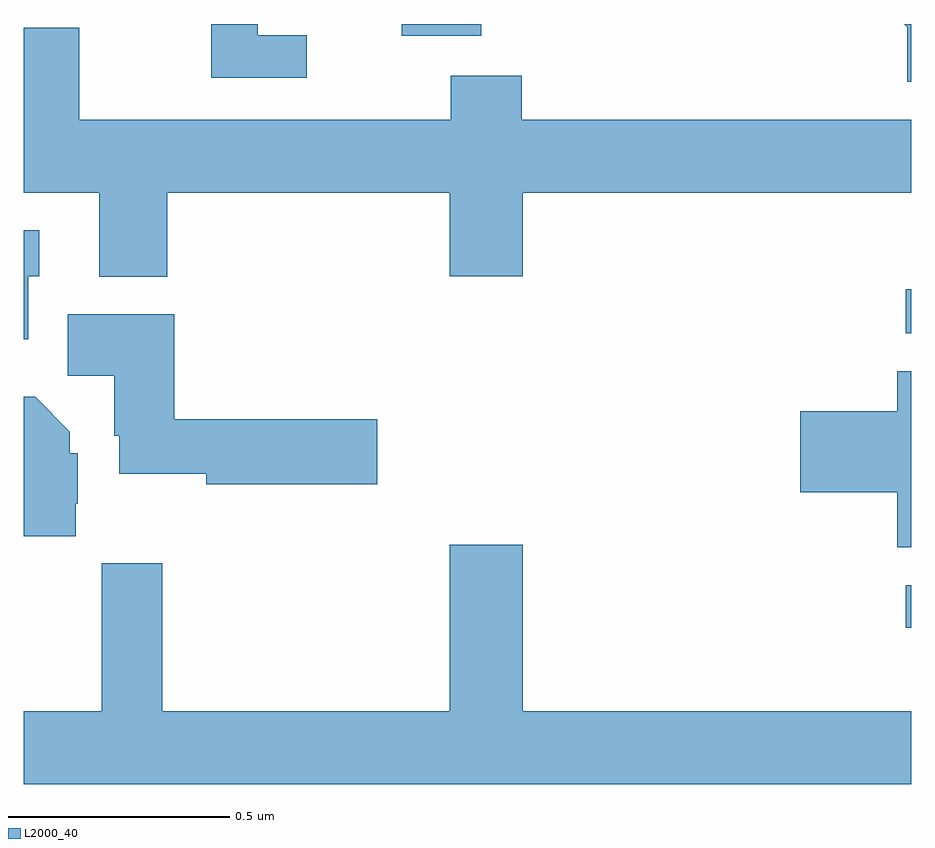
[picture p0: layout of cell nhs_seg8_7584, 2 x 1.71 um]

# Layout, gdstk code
import gdstk
lib = gdstk.Library(unit=1e-6, precision=1e-09)
def R(c, l, rs):  # rectangles x0, y0, x1, y1
    for r in rs: c.add(gdstk.rectangle(r[:2], r[2:], *l))
def P(c, l, *ps):  # polygons
    for p in ps: c.add(gdstk.Polygon(p, *l))
L2000_40 = (2000, 40)

nhs_seg8_7584 = lib.new_cell('nhs_seg8_7584')
R(nhs_seg8_7584, L2000_40, [(213.987,1095.54,214,1095.636), (213.987,1096.203,214,1096.302), (212.852,1096.874,213.031,1096.9)])
P(nhs_seg8_7584, L2000_40, [(214,1096.9),(213.984,1096.9),(213.991,1096.893),(213.991,1096.77),(214,1096.77)],
  [(212.638,1096.875),(212.527,1096.875),(212.527,1096.9),(212.423,1096.9),(212.423,1096.779),(212.638,1096.779)],
  [(212.324,1096.52),(212.96,1096.52),(212.96,1096.332),(213.124,1096.332),(213.124,1096.52),(214,1096.52),(214,1096.684),(213.122,1096.684),(213.122,1096.783),(212.962,1096.783),(212.962,1096.684),(212.125,1096.684),(212.125,1096.892),(212,1096.892),(212,1096.52),(212.171,1096.52),(212.171,1096.331),(212.324,1096.331)],
  [(212.011,1096.332),(212.035,1096.332),(212.035,1096.435),(212,1096.435),(212,1096.19),(212.011,1096.19)],
  [(212.797,1096.01),(212.339,1096.01),(212.339,1096.246),(212.099,1096.246),(212.099,1096.108),(212.204,1096.108),(212.204,1095.972),(212.216,1095.972),(212.216,1095.887),(212.412,1095.887),(212.412,1095.863),(212.797,1095.863)],
  [(214,1096.118),(213.968,1096.118),(213.968,1096.028),(213.75,1096.028),(213.75,1095.845),(213.968,1095.845),(213.968,1095.721),(214,1095.721)],
  [(212.117,1095.819),(212.122,1095.819),(212.122,1095.933),(212.104,1095.933),(212.104,1095.982),(212.026,1096.06),(212,1096.06),(212,1095.746),(212.117,1095.746)],
  [(214,1095.352),(213.124,1095.352),(213.124,1095.727),(212.96,1095.727),(212.96,1095.352),(212.312,1095.352),(212.312,1095.685),(212.176,1095.685),(212.176,1095.352),(212,1095.352),(212,1095.188),(214,1095.188)])

lib.write_gds('nhs_seg8_7584.gds')
